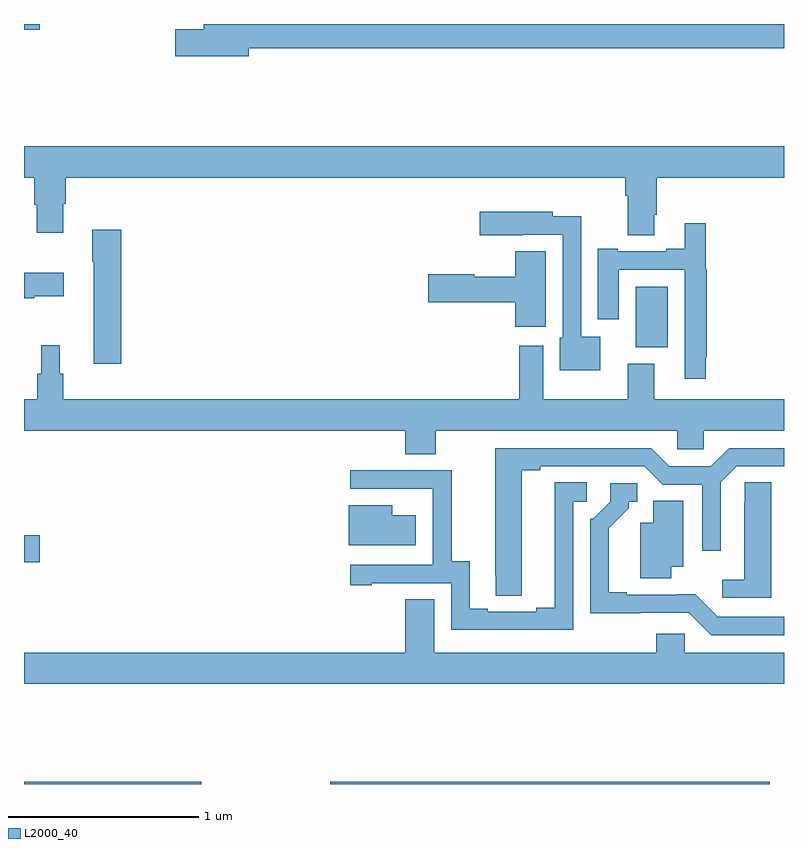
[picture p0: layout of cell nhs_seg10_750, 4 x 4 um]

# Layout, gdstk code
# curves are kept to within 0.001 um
import gdstk
lib = gdstk.Library(unit=1e-6, precision=1e-09)
def R(c, l, rs):  # rectangles x0, y0, x1, y1
    for r in rs: c.add(gdstk.rectangle(r[:2], r[2:], *l))
def P(c, l, *ps):  # polygons
    for p in ps: c.add(gdstk.Polygon(p, *l))
L2000_40 = (2000, 40)

nhs_seg10_750 = lib.new_cell('nhs_seg10_750')
R(nhs_seg10_750, L2000_40, [(149,1254.5,149.932,1254.512), (150.611,1254.5,152.924,1254.512), (149,1255.666,149.083,1255.808), (152.219,1256.798,152.389,1257.118), (149,1258.469,149.083,1258.5)])
P(nhs_seg10_750, L2000_40, [(150.184,1258.372),(153,1258.372),(153,1258.5),(149.945,1258.5),(149.945,1258.472),(149.796,1258.472),(149.796,1258.33),(150.184,1258.33)],
  [(152.317,1257.496),(152.33,1257.496),(152.33,1257.692),(153,1257.692),(153,1257.856),(149,1257.856),(149,1257.692),(149.054,1257.692),(149.054,1257.55),(149.066,1257.55),(149.066,1257.402),(149.206,1257.402),(149.206,1257.555),(149.219,1257.555),(149.219,1257.692),(152.165,1257.692),(152.165,1257.596),(152.177,1257.596),(152.177,1257.388),(152.317,1257.388)],
  [(152.032,1256.854),(151.932,1256.854),(151.932,1257.488),(151.782,1257.488),(151.782,1257.511),(151.398,1257.511),(151.398,1257.389),(151.625,1257.389),(151.625,1257.39),(151.836,1257.39),(151.836,1256.85),(151.82,1256.85),(151.82,1256.678),(152.032,1256.678)],
  [(152.587,1256.746),(152.594,1256.746),(152.594,1257.21),(152.587,1257.21),(152.587,1257.451),(152.477,1257.451),(152.477,1257.316),(152.381,1257.316),(152.381,1257.303),(152.125,1257.303),(152.125,1257.316),(152.021,1257.316),(152.021,1256.946),(152.131,1256.946),(152.131,1257.207),(152.478,1257.207),(152.478,1256.634),(152.587,1256.634)],
  [(149.513,1257.418),(149.359,1257.418),(149.359,1257.248),(149.366,1257.248),(149.366,1256.712),(149.513,1256.712)],
  [(151.747,1257.304),(151.586,1257.304),(151.586,1257.169),(151.371,1257.169),(151.371,1257.182),(151.128,1257.182),(151.128,1257.035),(151.586,1257.035),(151.586,1256.907),(151.747,1256.907)],
  [(149.055,1257.068),(149.209,1257.068),(149.209,1257.19),(149,1257.19),(149,1257.056),(149.055,1257.056)],
  [(151.167,1256.36),(152.439,1256.36),(152.439,1256.262),(152.577,1256.262),(152.577,1256.36),(153,1256.36),(153,1256.524),(152.317,1256.524),(152.317,1256.713),(152.177,1256.713),(152.177,1256.524),(151.732,1256.524),(151.732,1256.806),(151.607,1256.806),(151.607,1256.524),(149.207,1256.524),(149.207,1256.658),(149.188,1256.658),(149.188,1256.809),(149.09,1256.809),(149.09,1256.658),(149.071,1256.658),(149.071,1256.524),(149,1256.524),(149,1256.36),(151.007,1256.36),(151.007,1256.236),(151.167,1256.236)],
  [(151.621,1256.152),(151.717,1256.152),(151.717,1256.172),(152.265,1256.172),(152.361,1256.076),(152.571,1256.076),(152.571,1255.728),(152.667,1255.728),(152.667,1256.088),(152.751,1256.172),(153,1256.172),(153,1256.268),(152.711,1256.268),(152.615,1256.172),(152.397,1256.172),(152.301,1256.268),(151.481,1256.268),(151.482,1255.492),(151.621,1255.492)],
  [(151.89,1255.986),(151.963,1255.986),(151.963,1256.087),(151.793,1256.087),(151.793,1255.427),(151.697,1255.427),(151.697,1255.407),(151.441,1255.407),(151.441,1255.422),(151.345,1255.422),(151.345,1255.673),(151.251,1255.673),(151.251,1256.151),(150.717,1256.151),(150.717,1256.055),(151.151,1256.055),(151.151,1256.054),(151.152,1256.054),(151.152,1255.653),(150.717,1255.653),(150.717,1255.545),(150.829,1255.545),(150.829,1255.557),(151.248,1255.557),(151.248,1255.311),(151.89,1255.311)],
  [(152.932,1256.087),(152.793,1256.087),(152.793,1255.979),(152.792,1255.979),(152.792,1255.576),(152.676,1255.576),(152.676,1255.479),(152.932,1255.479)],
  [(153,1255.38),(152.652,1255.38),(152.534,1255.498),(152.173,1255.497),(152.173,1255.51),(152.077,1255.51),(152.077,1255.846),(152.182,1255.951),(152.182,1255.986),(152.227,1255.986),(152.227,1256.082),(152.085,1256.082),(152.085,1255.986),(151.995,1255.896),(151.98,1255.896),(151.98,1255.4),(152.499,1255.401),(152.616,1255.284),(153,1255.284)],
  [(152.407,1255.643),(152.47,1255.643),(152.47,1255.991),(152.312,1255.991),(152.312,1255.876),(152.243,1255.876),(152.243,1255.582),(152.407,1255.582)],
  [(151.063,1255.915),(150.937,1255.915),(150.937,1255.966),(150.71,1255.966),(150.71,1255.757),(151.063,1255.757)],
  [(153,1255.192),(152.478,1255.192),(152.478,1255.29),(152.327,1255.29),(152.327,1255.192),(151.159,1255.192),(151.159,1255.472),(151.007,1255.472),(151.007,1255.192),(149,1255.192),(149,1255.028),(153,1255.028)])

lib.write_gds('nhs_seg10_750.gds')
